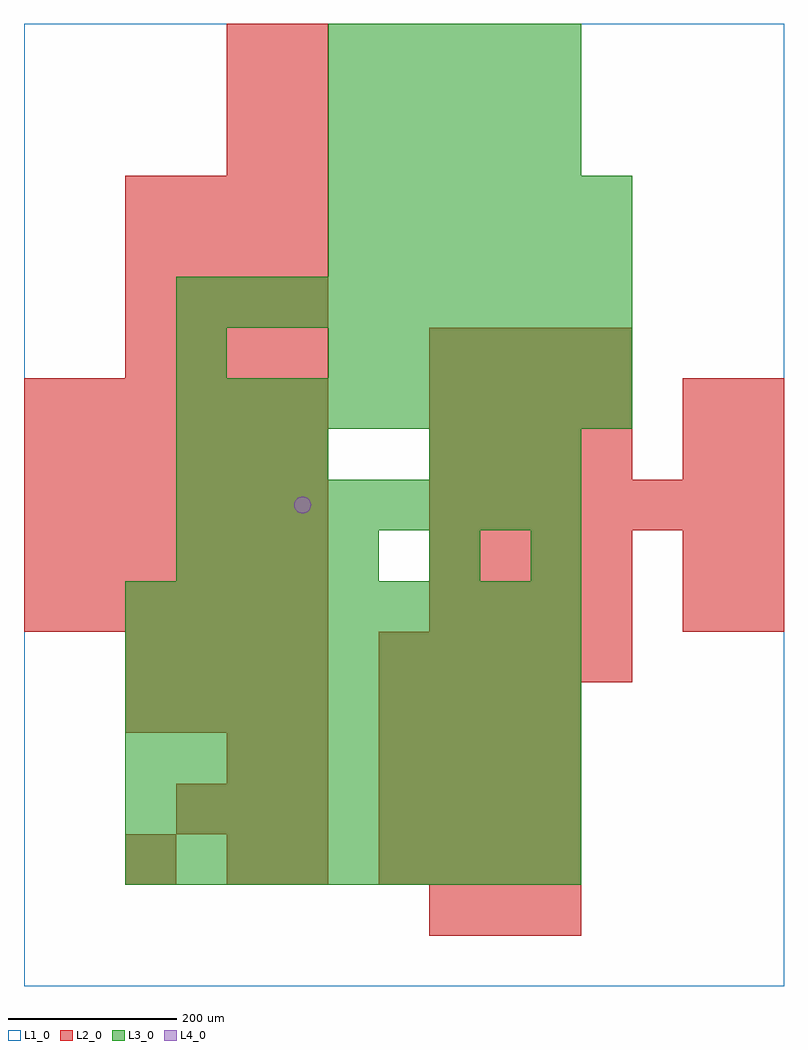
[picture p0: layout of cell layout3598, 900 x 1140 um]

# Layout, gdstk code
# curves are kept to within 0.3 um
import gdstk
lib = gdstk.Library(unit=1e-6, precision=1e-09)
def R(c, l, rs):  # rectangles x0, y0, x1, y1
    for r in rs: c.add(gdstk.rectangle(r[:2], r[2:], *l))
def A(c, l, x, y, w, h, nx, ny, dx, dy):  # array of equal rectangles
    R(c, l, [(x+i*dx, y+j*dy, x+i*dx+w, y+j*dy+h) for i in range(nx) for j in range(ny)])
def P(c, l, *ps):  # polygons
    for p in ps: c.add(gdstk.Polygon(p, *l))
L1_0 = (1, 0)
L2_0 = (2, 0)
L3_0 = (3, 0)
L4_0 = (4, 0)

layout3598 = lib.new_cell('layout3598')
R(layout3598, L1_0, [(0,0,900,1140)])
A(layout3598, L2_0, 480, 60, 60, 60, 3, 1, 60, 0)
A(layout3598, L2_0, 420, 120, 60, 60, 4, 4, 60, 60)
A(layout3598, L2_0, 180, 180, 60, 60, 3, 1, 60, 0)
A(layout3598, L2_0, 120, 300, 60, 60, 4, 2, 60, 60)
A(layout3598, L2_0, 420, 360, 60, 60, 5, 1, 60, 0)
A(layout3598, L2_0, 0, 420, 60, 60, 6, 5, 60, 60)
A(layout3598, L2_0, 480, 420, 60, 60, 4, 2, 60, 60)
A(layout3598, L2_0, 480, 540, 60, 60, 7, 1, 60, 0)
A(layout3598, L2_0, 480, 600, 60, 60, 4, 3, 60, 60)
A(layout3598, L2_0, 120, 720, 60, 60, 4, 4, 60, 60)
A(layout3598, L2_0, 240, 960, 60, 60, 1, 3, 0, 60)
A(layout3598, L2_0, 300, 960, 60, 60, 1, 3, 0, 60)
R(layout3598, L2_0, [(120,120,180,180), (240,120,300,180), (300,120,360,180), (240,240,300,300), (300,240,360,300), (780,420,840,480), (840,420,900,480), (780,480,840,540), (840,480,900,540), (780,600,840,660), (840,600,900,660), (780,660,840,720), (840,660,900,720)])
A(layout3598, L3_0, 120, 120, 60, 60, 9, 6, 60, 60)
A(layout3598, L3_0, 180, 480, 60, 60, 4, 1, 60, 0)
A(layout3598, L3_0, 180, 540, 60, 60, 8, 1, 60, 0)
A(layout3598, L3_0, 180, 600, 60, 60, 3, 1, 60, 0)
A(layout3598, L3_0, 480, 600, 60, 60, 3, 1, 60, 0)
A(layout3598, L3_0, 180, 660, 60, 60, 9, 2, 60, 120)
A(layout3598, L3_0, 360, 720, 60, 60, 6, 2, 60, 120)
A(layout3598, L3_0, 360, 900, 60, 60, 6, 1, 60, 0)
A(layout3598, L3_0, 360, 960, 60, 60, 5, 3, 60, 60)
R(layout3598, L3_0, [(480,480,540,540), (600,480,660,540), (180,720,240,780)])
P(layout3598, L4_0, [(340,570),(339.239,573.827),(337.071,577.071),(333.827,579.239),(330,580),(326.173,579.239),(322.929,577.071),(320.761,573.827),(320,570),(320.761,566.173),(322.929,562.929),(326.173,560.761),(330,560),(333.827,560.761),(337.071,562.929),(339.239,566.173)])

lib.write_gds('layout3598.gds')
